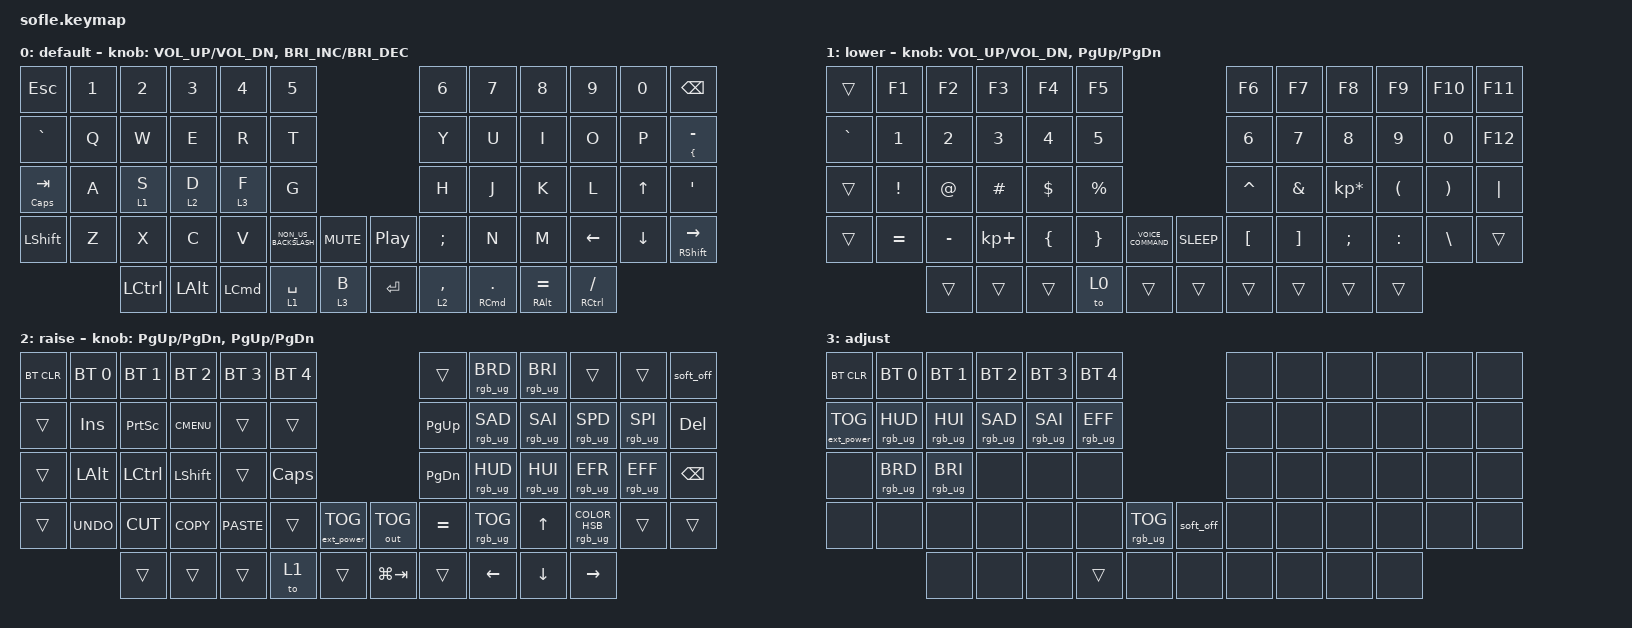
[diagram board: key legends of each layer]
/*
 * Copyright (c) 2020 The ZMK Contributors
 *
 * SPDX-License-Identifier: MIT
 */

#include <behaviors.dtsi>
#include <dt-bindings/zmk/bt.h>
#include <dt-bindings/zmk/ext_power.h>
#include <dt-bindings/zmk/keys.h>
#include <dt-bindings/zmk/outputs.h>
#include <dt-bindings/zmk/rgb.h>

#define BASE 0
#define LOWER 1
#define RAISE 2
#define ADJUST 3

&gresc {
};

/ {
    // Activate ADJUST layer by pressing raise and lower

    conditional_layers {
        compatible = "zmk,conditional-layers";

        adjust_layer {
            if-layers = <LOWER RAISE>;
            then-layer = <ADJUST>;
        };
    };

    combos {
        compatible = "zmk,combos";

        question {
            bindings = <&kp QUESTION>;
            key-positions = <49 48>;
            layers = <0>;
        };
    };

    macros {
        new_macro: new_macro {
            compatible = "zmk,behavior-macro";
            #binding-cells = <0>;
            bindings = <&none>, <&macro_press>;

            label = "NEW_MACRO";
        };
    };

    keymap {
        compatible = "zmk,keymap";

        default_layer {
            label = "default";

            // ------------------------------------------------------------------------------------------------------------
            // |   `   |  1  |  2  |  3   |  4   |  5   |                   |  6   |  7    |  8    |  9   |   0   |       |
            // |  ESC  |  Q  |  W  |  E   |  R   |  T   |                   |  Y   |  U    |  I    |  O   |   P   | BKSPC |
            // |  TAB  |  A  |  S  |  D   |  F   |  G   |                   |  H   |  J    |  K    |  L   |   ;   |   '   |
            // | SHIFT |  Z  |  X  |  C   |  V   |  B   |  MUTE  |  |       |  N   |  M    |  ,    |  .   |   /   | SHIFT |
            //               | GUI | ALT  | CTRL | LOWER|  ENTER |  | SPACE | RAISE| CTRL  | ALT   | GUI  |

            bindings = <
&kp ESCAPE    &kp N1  &kp N2     &kp N3    &kp N4    &kp N5                                                &kp N6         &kp N7                    &kp N8               &kp N9                   &kp N0    &kp BACKSPACE
&kp GRAVE     &kp Q   &kp W      &kp E     &kp R     &kp T                                                 &kp Y          &kp U                     &kp I                &kp O                    &kp P     &mt LEFT_BRACE MINUS
&mt CAPS TAB  &kp A   &lt 1 S    &lt 2 D   &lt 3 F   &kp G                                                 &kp H          &kp J                     &kp K                &kp L                    &kp UP    &kp SQT
&kp LSHFT     &kp Z   &kp X      &kp C     &kp V     &kp NON_US_BACKSLASH  &kp C_MUTE    &kp C_PLAY_PAUSE  &kp SEMICOLON  &kp N                     &kp M                &kp LEFT                 &kp DOWN  &mt RIGHT_SHIFT RIGHT_ARROW
                      &kp LCTRL  &kp LALT  &kp LCMD  &lt 1 SPACE           &lt 3 B       &kp RET           &lt 2 COMMA    &mt RIGHT_COMMAND PERIOD  &mt RIGHT_ALT EQUAL  &mt RIGHT_CONTROL SLASH
            >;

            sensor-bindings =
                <&inc_dec_kp C_VOL_UP C_VOL_DN>,
                <&inc_dec_kp C_BRIGHTNESS_INC C_BRIGHTNESS_DEC>;
        };

        lower_layer {
            label = "lower";

            // TODO: Some binds are waiting for shifted keycode support.
            // ------------------------------------------------------------------------------------------------------------
            // |       |  F1 |  F2 |  F3  |  F4  |  F5  |                   |  F6  |  F7   |  F8   |  F9  |  F10  |  F11  |
            // |   `   |  1  |  2  |  3   |  4   |  5   |                   |  6   |  7    |  8    |  9   |   0   |  F12  |
            // |       |  !  |  @  |  #   |  $   |  %   |                   |  ^   |  &    |  *    |  (   |   )   |   |   |
            // |       |  =  |  -  |  +   |  {   |  }   |        |  |       |  [   |  ]    |  ;    |  :   |   \   |       |
            //               |     |      |      |      |        |  |       |      |       |       |      |

            bindings = <
&trans     &kp F1     &kp F2     &kp F3       &kp F4    &kp F5                                         &kp F6     &kp F7    &kp F8           &kp F9     &kp F10   &kp F11
&kp GRAVE  &kp N1     &kp N2     &kp N3       &kp N4    &kp N5                                         &kp N6     &kp N7    &kp N8           &kp N9     &kp N0    &kp F12
&trans     &kp EXCL   &kp AT     &kp HASH     &kp DLLR  &kp PRCNT                                      &kp CARET  &kp AMPS  &kp KP_MULTIPLY  &kp LPAR   &kp RPAR  &kp PIPE
&trans     &kp EQUAL  &kp MINUS  &kp KP_PLUS  &kp LBRC  &kp RBRC   &kp C_VOICE_COMMAND    &kp K_SLEEP  &kp LBKT   &kp RBKT  &kp SEMI         &kp COLON  &kp BSLH  &trans
                      &trans     &trans       &trans    &to 0      &trans                 &trans       &trans     &trans    &trans           &trans
            >;

            sensor-bindings = <&inc_dec_kp C_VOL_UP C_VOL_DN &inc_dec_kp PG_UP PG_DN>;
        };

        raise_layer {
            label = "raise";

            // ------------------------------------------------------------------------------------------------------------
            // | BTCLR | BT1  | BT2  |  BT3  |  BT4  |  BT5 |                |      |      |       |      |       |       |
            // |       | INS  | PSCR | GUI   |       |      |                | PGUP |      |   ^   |      |       |       |
            // |       | ALT  | CTRL | SHIFT |       | CAPS |                | PGDN |   <- |   v   |  ->  |  DEL  | BKSPC |
            // |       | UNDO | CUT  | COPY  | PASTE |      |      |  |      |      |      |       |      |       |       |
            //                |      |       |       |      |      |  |      |      |      |       |      |

            bindings = <
&bt BT_CLR  &bt BT_SEL 0  &bt BT_SEL 1  &bt BT_SEL 2  &bt BT_SEL 3  &bt BT_SEL 4                                     &trans     &rgb_ug RGB_BRD  &rgb_ug RGB_BRI  &trans                           &trans           &soft_off
&trans      &kp INS       &kp PSCRN     &kp K_CMENU   &trans        &trans                                           &kp PG_UP  &rgb_ug RGB_SAD  &rgb_ug RGB_SAI  &rgb_ug RGB_SPD                  &rgb_ug RGB_SPI  &kp DEL
&trans      &kp LALT      &kp LCTRL     &kp LSHFT     &trans        &kp CLCK                                         &kp PG_DN  &rgb_ug RGB_HUD  &rgb_ug RGB_HUI  &rgb_ug RGB_EFR                  &rgb_ug RGB_EFF  &kp BSPC
&trans      &kp K_UNDO    &kp K_CUT     &kp K_COPY    &kp K_PASTE   &trans        &ext_power EP_TOG    &out OUT_TOG  &kp EQUAL  &rgb_ug RGB_TOG  &kp UP_ARROW     &rgb_ug RGB_COLOR_HSB(23,90,19)  &trans           &trans
                          &trans        &trans        &trans        &to 1         &trans               &kp LG(TAB)   &trans     &kp LEFT         &kp DOWN         &kp RIGHT
            >;

            sensor-bindings =
                <&inc_dec_kp PAGE_UP PAGE_DOWN>,
                <&inc_dec_kp PG_UP PG_DN>;
        };

        adjust_layer {
            // ----------------------------------------------------------------------------------------------------------------------------
            // | BTCLR  |  BT1    |  BT2    |   BT3   |   BT4   |   BT5   |                  |      |      |       |      |       |       |
            // | EXTPWR | RGB_HUD | RGB_HUI | RGB_SAD | RGB_SAI | RGB_EFF |                  |      |      |       |      |       |       |
            // |        | RGB_BRD | RGB_BRI |         |         |         |                  |      |      |       |      |       |       |
            // |        |         |         |         |         |         | RGB_TOG | |      |      |      |       |      |       |       |
            //                    |         |         |         |         |         | |      |      |      |       |      |

            label = "adjust";
            bindings = <
&bt BT_CLR         &bt BT_SEL 0     &bt BT_SEL 1     &bt BT_SEL 2     &bt BT_SEL 3     &bt BT_SEL 4                                   &none  &none  &none  &none  &none  &none
&ext_power EP_TOG  &rgb_ug RGB_HUD  &rgb_ug RGB_HUI  &rgb_ug RGB_SAD  &rgb_ug RGB_SAI  &rgb_ug RGB_EFF                                &none  &none  &none  &none  &none  &none
&none              &rgb_ug RGB_BRD  &rgb_ug RGB_BRI  &none            &none            &none                                          &none  &none  &none  &none  &none  &none
&none              &none            &none            &none            &none            &none            &rgb_ug RGB_TOG    &soft_off  &none  &none  &none  &none  &none  &none
                                    &none            &none            &none            &trans           &none              &none      &none  &none  &none  &none
            >;
        };
    };
};
